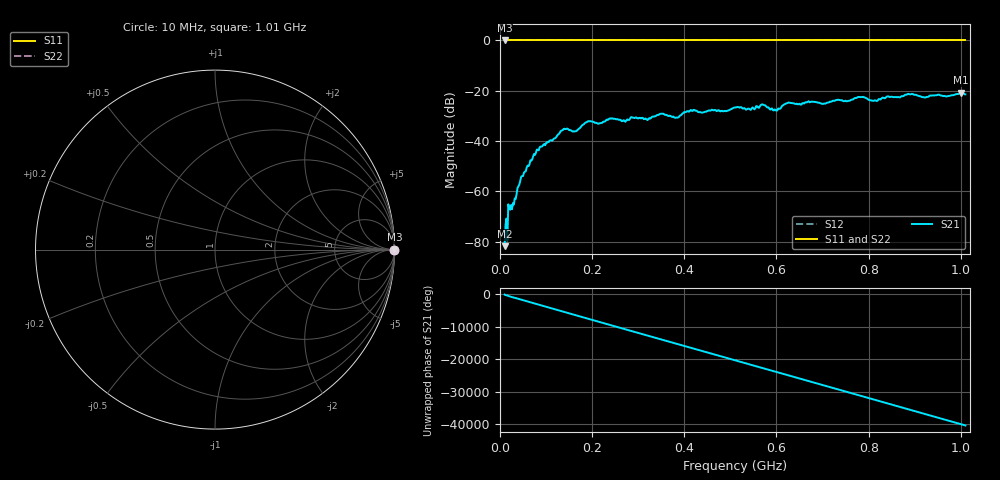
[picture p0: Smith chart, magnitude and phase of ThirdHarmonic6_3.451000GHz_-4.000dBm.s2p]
! 8/17/2025 11:08:52 AM
! C:\ANRITSUVNA\TEMP\TEMP.S2P
! CHANNEL.1
! TR.MEASUREMENT
! RAW.DATA
! RF.CORRECTION.OFF
! AVERAGING.OFF
! IF.BANDWIDTH: 5KHZ
! SWEEPTYPE:  FREQ.SWEEP(Linear)
! Reference Plane Port Info
! PORT:  PORT1  PORT2
! DISTANCE:  0  m  0  m
! TIME:  0  s  0  s
! PHASE.OFFSET:  0  deg.  0  deg.
! LOSS:  0  dB  0  dB
! REF.LOSS:  0  dB  0  dB
! REF.FREQ:  0  Hz  0  Hz
! Power Info
! POWER:  -20  dBm  -20  dBm
! EFF.POWER:  -20  dBm  -20  dBm
! SOURCE.ATTEN:  0  dB  0  dB
! TEST.ATTEN:  0  dB  0  dB
# GHZ S RI R 50.0
! FREQ.GHZ  S11RE  S11IM  S21RE  S21IM  S12RE  S12IM  S22RE  S22IM
!; PortSelection: Port_12
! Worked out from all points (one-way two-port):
!   501 points, 10 MHz to 1.01 GHz, reference 50 ohm
!   highest |S21| = -20.81 dB at 1 GHz (marker M1); lowest = -81.8 dB at 10 MHz (marker M2)
!   lowest |S11| = 0.0 dB at 10 MHz (marker M3)
!   |S11| at or under -10 dB: nowhere
!   |S22| runs from 0.0 to 0.0 dB; largest |S21 - S12| = 1.1
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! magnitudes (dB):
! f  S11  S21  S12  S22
! 10 MHz  0.0  -81.8  0.0  0.0
! 12 MHz  0.0  -73.4  0.0  0.0
! 16 MHz  0.0  -79.6  0.0  0.0
! 22 MHz  0.0  -67.3  0.0  0.0
! 30 MHz  0.0  -65.3  0.0  0.0
! 42 MHz  0.0  -57.3  0.0  0.0
! 78 MHz  0.0  -44.6  0.0  0.0
! 136 MHz  0.0  -35.7  0.0  0.0
! 162 MHz  0.0  -36.2  0.0  0.0
! 178 MHz  0.0  -33.8  0.0  0.0
! 194 MHz  0.0  -32.2  0.0  0.0
! 344 MHz  0.0  -29.6  0.0  0.0
! 384 MHz  0.0  -30.7  0.0  0.0
! 416 MHz  0.0  -28.0  0.0  0.0
! 510 MHz  0.0  -26.6  0.0  0.0
! 570 MHz  0.0  -25.5  0.0  0.0
! 598 MHz  0.0  -27.7  0.0  0.0
! 624 MHz  0.0  -24.9  0.0  0.0
! 678 MHz  0.0  -24.3  0.0  0.0
! 844 MHz  0.0  -22.3  0.0  0.0
! 1 GHz  0.0  -20.8  0.0  0.0
! 1.01 GHz  0.0  -21.4  0.0  0.0
